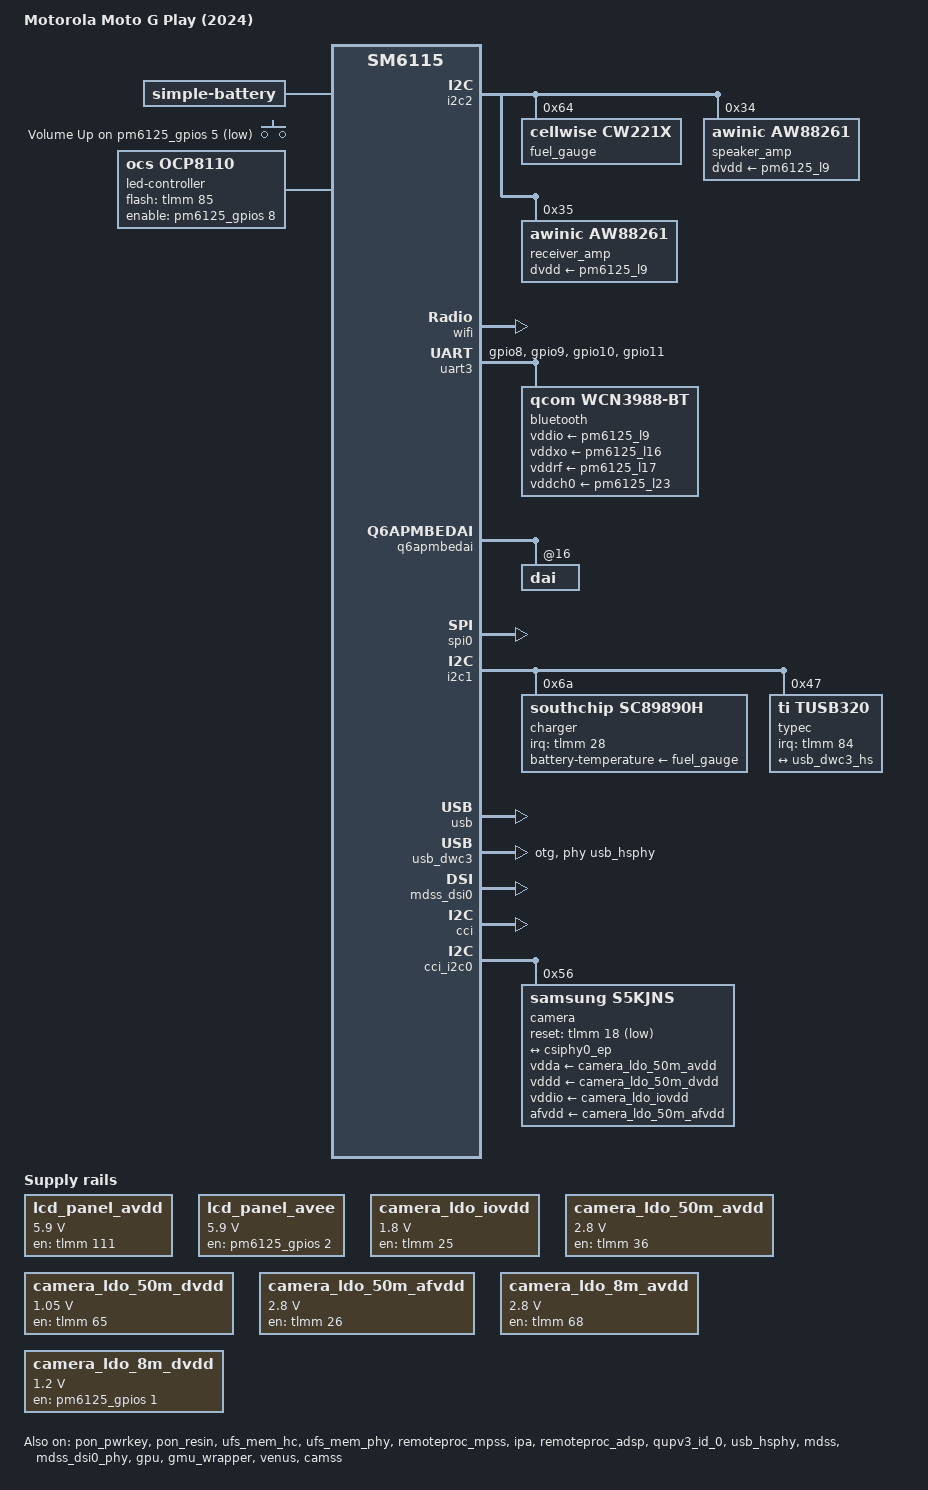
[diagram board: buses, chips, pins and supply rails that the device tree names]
// SPDX-License-Identifier: (GPL-2.0+ OR BSD-3-Clause)
/*
 * Motorola Moto G Play (2024) -- "fogona", XT2413, SM6225 (khaje).
 *
 * Everything common to the board. fogona is dual-sourced for the display, and
 * the panel is a TDDI part that drives touch as well, so BOTH the panel and the
 * touch controller are per-variant and live in the including .dts:
 *
 *   sm6225-motorola-fogona-icnl9916c.dts   Tianma ICNL9916C   (this unit)
 *   sm6225-motorola-fogona-nt36528.dts     CSOT NT36528       (not written)
 *   sm6225-motorola-fogona-ili9883c.dts    TXD ILI9883C       (not written)
 *
 * Stock does the same thing at runtime instead, declaring all three touch nodes
 * on one SPI bus and matching mmi,panel_name; separate DTBs is the mainline way.
 *
 * Copyright (c) 2026 William Floyd
 */

#include <dt-bindings/gpio/gpio.h>
#include <dt-bindings/input/input.h>
#include <dt-bindings/interrupt-controller/irq.h>
#include <dt-bindings/leds/common.h>
#include "sm6225.dtsi"
#include "pm6125.dtsi"

/ {
	model = "Motorola Moto G Play (2024)";
	compatible = "motorola,fogona", "qcom,sm6225", "qcom,sm6115";
	chassis-type = "handset";

	/*
	 * Measured, not inherited: /sys/devices/soc0/soc_id = 518, revision 1.0.
	 * fogona ships two base DTBs differing only in this property (0x24a and
	 * 0x206); this unit is 0x206 = 518. board-id is the pair carried by the
	 * dtbo overlay ABL actually selects at runtime.
	 */
	qcom,msm-id = <518 0x10000>;
	qcom,board-id = <0x41 0xa000>;

	/*
	 * uart3 is the only GENI UART enabled as a plain (non-console) serdev
	 * bus on this board -- the Bluetooth link. With no /aliases node at
	 * all, qcom_geni_serial_probe()'s of_alias_get_highest_id("serial")
	 * returns -ENODEV and the ida_alloc_range() that follows it fails,
	 * so the port never registers ("Invalid line -19"). qrb4210-rb2.dts
	 * hits the same requirement and assigns serial1 to its uart3.
	 */
	aliases {
		serial1 = &uart3;
	};

	chosen {
		/*
		 * The two remaining *_ignore_unused are inherited from the
		 * simple-framebuffer era: ABL handed over with the panel lit
		 * and its clocks/rails running, simplefb claimed none of them,
		 * and the late-boot "disable everything unclaimed" passes then
		 * turned the display off -- Tux drawn, then black.
		 *
		 * regulator_ignore_unused was dropped 2026-09-10 and is NOT
		 * coming back. That premise no longer holds for rails, because
		 * the panel driver claims its own: icnl9916_panel_prepare()
		 * calls regulator_bulk_enable() on vddio/avdd/avee and
		 * _unprepare() releases them. Measured on hardware without the
		 * flag -- lcd_panel_avdd and lcd_panel_avee sit at use=0 while
		 * blanked, regulator_init_complete disables them, and the next
		 * prepare() turns them straight back on. Observed 0 -> 1 within
		 * one boot, backlight back to 1637. The other rails the pass
		 * touches are the ath10k ones, which have no driver holding
		 * them because WiFi does not work yet, and dummy regulators.
		 *
		 * L9A (LCD_1.8V) is a separate matter and was never what the
		 * flag protected: the PM6225 datasheet says it must never be
		 * turned off (it also carries VDD_PX31..36 and LPDDR4x_VDD1),
		 * and it is already regulator-always-on in this DTS, which is
		 * what actually keeps it up.
		 *
		 * pd_ignore_unused was dropped 2026-09-11, also tested. Only
		 * three domains were at risk -- hlos1_vote_mm_snoc_mmu_tbu_rt,
		 * _nrt and hlos1_vote_turing_mmu_tbu0 -- all on with no DT node
		 * referencing them, so unlike the display clocks they could not
		 * gain a consumer by waking the screen. All four TBU GDSCs are
		 * VOTABLE, meaning the HLOS vote is one of several and dropping
		 * it does not force the block off; hlos1_vote_turing_mmu_tbu1
		 * was already off before the change with nothing broken, which
		 * is the precedent. Measured without the flag: genpd reports
		 * "Disabling unused power domains", all four TBUs read off-0,
		 * mdss_gdsc/gcc_usb30_prim/gcc_ufs_phy stay on because they
		 * have real consumers, and display, GPU, Type-C, UFS and SSH
		 * are all unaffected with zero SMMU faults.
		 *
		 * clk_ignore_unused is UNTESTED and should stay for now. It is
		 * a much worse bet than the other two were: 55 clocks are
		 * hardware-enabled with no consumer, spanning USB3 PHY, SDCC,
		 * QUP, CPU and -- the real problem -- snoc/ipa/ce1 interconnect
		 * and RPM votes that no mainline driver on this port claims.
		 * Gating interconnect hangs the bus with no diagnostic, which
		 * is the same failure class as the adreno SMMU bug. It becomes
		 * droppable when those subsystems have drivers, not before.
		 *
		 * androidboot.slot_suffix is not for Android's benefit: it is
		 * how msm-firmware-loader finds the slotted partitions. Its
		 * ab_get_slot() reads this from /proc/cmdline, and booting
		 * through U-Boot means nothing else sets it -- so without it
		 * the loader looks for partitions literally named "modem" and
		 * "vendor", finds only the unslotted "persist", and silently
		 * provides no firmware at all. Hardcoded because slot A is
		 * active; installing qbootctl would track the real slot.
		 */
		bootargs = "console=tty0 loglevel=7 panic=0 fbcon=map:0,font:6x10 clk_ignore_unused pmos.nosplash plymouth.enable=0 ignore_loglevel rdinit=/init.pmos androidboot.slot_suffix=_a";
	};

	/*
	 * simple-framebuffer at the DT ROOT, not under /chosen.
	 * of_platform_default_populate() walks the root; a /chosen child relies
	 * on one special-cased lookup, and on this port that lookup did not
	 * fire -- the driver never probed and 40 lines of pr_emerg produced
	 * nothing on the panel. Moved to the root, fbcon came up immediately
	 * and drew the Tux logo.
	 *
	 * ABL leaves its splash lit at the base of cont_splash_mem, confirmed
	 * from the live tree as splash_region@5c000000 / 0xf00000. The panel is
	 * 720x1600; the region must stay no-map or simplefb's devm_ioremap_wc()
	 * refuses it (arm64 ioremap rejects mapped memory).
	 */
	framebuffer0: framebuffer@5c000000 {
		compatible = "simple-framebuffer";
		reg = <0x0 0x5c000000 0x0 (720 * 1600 * 4)>;
		width = <720>;
		height = <1600>;
		stride = <(720 * 4)>;
		format = "a8r8g8b8";
	};

	/*
	 * Persistent kernel log across reboots. CONFIG_PSTORE_RAM is already
	 * enabled, but without a region the driver is inert -- which is why an
	 * unexplained reboot leaves nothing behind. That matters more than
	 * usual here: every boot is a manual `fastboot boot`, so a crash that
	 * explains itself is worth a lot.
	 *
	 * Address and sizes are Motorola's own for this SoC, from
	 * kernel-msm/include/dt-bindings/moto/moto-mem-reserve.h
	 * (RAMOOPS_BASE_ADDR 0xaf000000, console 0x40000, record 0x3f800,
	 * total 0xbf800), used by khaje-moto-common-overlay.dtsi. So the
	 * bootloader already treats it as scratch and nothing else claims it;
	 * our own highest reserved region is rmtfs at 0x89b01000, far below.
	 *
	 * No `no-map`: ramoops needs the region mapped to read it back, and
	 * every in-tree arm64 qcom example omits it. pmsg-size is omitted too
	 * because CONFIG_PSTORE_PMSG is off -- the space then goes to extra
	 * dump records instead.
	 *
	 * After a crash the previous boot's log is at /sys/fs/pstore/.
	 */
	reserved-memory {
		ramoops@af000000 {
			compatible = "ramoops";
			reg = <0x0 0xaf000000 0x0 0xbf800>;
			console-size = <0x40000>;
			record-size = <0x3f800>;
		};
	};

	/*
	 * The gauge reports state of charge as a percentage and knows nothing
	 * about pack size, so the design capacity has to come from here.
	 * 5000 mAh matches stock's fcc_design of 0x1388 for all three packs.
	 *
	 * operating-range-celsius is the charge window, and nothing in mainline
	 * reads it on this board yet -- bq25890_charger does not call
	 * power_supply_get_battery_info(). It is recorded because it is the only
	 * upstream way to state the pack's temperature limits at all: there is
	 * no binding for JEITA zones, so stock's mmi,mmi-temp-zones table, which
	 * derates to 4250 mV below 15C and 4200 mV above 45C, has no mainline
	 * expression. See the charger node for why that pushed the regulation
	 * voltage down to 4400 mV.
	 */
	battery: battery {
		compatible = "simple-battery";
		charge-full-design-microamp-hours = <5000000>;
		voltage-min-design-microvolt = <3400000>;
		voltage-max-design-microvolt = <4400000>;
		operating-range-celsius = <0 45>;
	};

	gpio-keys {
		compatible = "gpio-keys";

		/*
		 * Volume-up is on the PMIC, not TLMM. The schematic routes
		 * KYPD_VOLP_N to PM6225 GPIO_05 (pad 21), and the stock dtbo
		 * agrees: its vol_up node reads `gpios = <0xffffffff 0x05 0x01>`
		 * with the fixups block resolving that dangling phandle to
		 * `pm6125_gpios`. Reading the overlay without applying the
		 * fixups yields "gpio 5" with no controller, and TLMM 5 is the
		 * natural wrong guess -- which is exactly the guess this file
		 * used to make.
		 *
		 * All three side keys are on the PMIC: power -> KPD_PWR_N and
		 * volume-down -> RESIN_N (both via pon, enabled below), and
		 * volume-up here. There is no TLMM key on this board.
		 */
		key-volume-up {
			label = "Volume Up";
			gpios = <&pm6125_gpios 5 GPIO_ACTIVE_LOW>;
			linux,code = <KEY_VOLUMEUP>;
			debounce-interval = <15>;
		};
	};

	/*
	 * Speaker playback. Both amplifiers sit on the one primary MI2S port,
	 * so they are two codecs on a single dai-link rather than two links.
	 *
	 * The card deliberately programs no LPASS clocks of its own: under
	 * AudioReach the interface clocking belongs to the DSP graph, and
	 * q6apm-lpass-dais only takes an explicit bit clock when the port node
	 * carries "mclk"/"bclk" clock references, which it does not here. This
	 * mirrors monaco-evk, the other GPR board with a plain I2S codec on
	 * MI2S. If playback ever runs with no audible output and no error, the
	 * machine driver's mi2s_bclk_enable path is the first thing to try.
	 */
	sound {
		compatible = "motorola,fogona-sndcard";
		model = "Moto-G-Play-2024";

		pinctrl-0 = <&lpi_i2s1_active>;
		pinctrl-names = "default";

		pri-mi2s-dai-link {
			link-name = "Primary MI2S Playback";

			codec {
				sound-dai = <&speaker_amp>, <&receiver_amp>;
			};

			cpu {
				sound-dai = <&q6apmbedai PRIMARY_MI2S_RX>;
			};

			platform {
				sound-dai = <&q6apm>;
			};
		};
	};
};

/*
 * khaje reserves GPIOs 14-17. Straight from Qualcomm's own driver:
 *
 *   static const int khaje_reserved_gpios[] = { 14, 15, 16, 17, -1 };
 *       -- drivers/pinctrl/qcom/pinctrl-khaje.c
 *
 * Touching them during gpio init is what crashes TLMM on this SoC.
 */
&tlmm {
	gpio-reserved-ranges = <14 4>;

	charger_int_n: charger-int-state {
		pins = "gpio28";
		function = "gpio";
		drive-strength = <2>;
		bias-pull-up;
	};

	typec_int_n: typec-int-state {
		pins = "gpio84";
		function = "gpio";
		drive-strength = <2>;
		bias-pull-up;
	};

	te_active: te-active-state {
		pins = "gpio81";
		function = "mdp_vsync";
		drive-strength = <2>;
		bias-pull-down;
	};

	mdss_dsi_active: dsi-active-state {
		pins = "gpio82";
		function = "gpio";
		drive-strength = <8>;
		bias-disable;
	};

	panel_avdd_default: panel-avdd-state {
		pins = "gpio111";
		function = "gpio";
		drive-strength = <8>;
		bias-disable;
	};

	ts_int_default: ts-int-state {
		pins = "gpio80";
		function = "gpio";
		bias-pull-up;
	};

	ts_reset_default: ts-reset-state {
		pins = "gpio86";
		function = "gpio";
		drive-strength = <8>;
		bias-disable;
	};

	/*
	 * The rear sensor's master clock. This one IS a pinctrl group, unlike
	 * every camera *enable* below: GPIO_20 is muxed to cam_mclk and driven
	 * by GCC, so nothing requests it as a GPIO and the "already requested"
	 * conflict described at lcd_panel_avdd cannot arise here.
	 */
	cam_mclk0_default: cam-mclk0-state {
		pins = "gpio20";
		function = "cam_mclk";
		drive-strength = <2>;
		bias-disable;
	};

	/*
	 * uart3 (SE3) is the Bluetooth UART, not a spare engine -- see
	 * investigations/bluetooth.md §1. gpio8-11 is CTS/RTS/TX/RX with flow
	 * control; groups copied from qrb4210-rb2.dts, the bengal-class board
	 * on the same SE3/qup3 pins.
	 */
	uart3_default: uart3-default-state {
		cts-pins {
			pins = "gpio8";
			function = "qup3";
			drive-strength = <2>;
			bias-bus-hold;
		};

		rts-pins {
			pins = "gpio9";
			function = "qup3";
			drive-strength = <2>;
			bias-disable;
		};

		tx-pins {
			pins = "gpio10";
			function = "qup3";
			drive-strength = <2>;
			bias-disable;
		};

		rx-pins {
			pins = "gpio11";
			function = "qup3";
			drive-strength = <2>;
			bias-pull-up;
		};
	};

	uart3_sleep: uart3-sleep-state {
		cts-pins {
			pins = "gpio8";
			function = "gpio";
			drive-strength = <2>;
			bias-bus-hold;
		};

		rts-pins {
			pins = "gpio9";
			function = "gpio";
			drive-strength = <2>;
			bias-pull-down;
		};

		tx-pins {
			pins = "gpio10";
			function = "gpio";
			drive-strength = <2>;
			bias-pull-up;
		};

		rx-pins {
			pins = "gpio11";
			function = "gpio";
			drive-strength = <2>;
			bias-pull-up;
		};
	};
};

&pon_pwrkey {
	status = "okay";
};

&pon_resin {
	linux,code = <KEY_VOLUMEDOWN>;
	status = "okay";
};

/*
 * RPM regulators. khaje's rails are pm6125 LDOs behind RPM/SMD (the SoC has an
 * Arm Cortex-M3 RPM, not RPMh), so they are declared per-board here rather
 * than in pm6125.dtsi -- which describes only the SPMI side.
 *
 * Only the rails this port actually uses are declared. Voltage windows are the
 * sibling sm6225-lenovo-tb128.dts values, which match the PM6225 datasheet
 * ranges; L18 carries the note "fixed @ 1.232V for DSIPHY" there and is also
 * fogona's UFS vdda-pll.
 */
&rpm_requests {
	regulators-0 {
		compatible = "qcom,rpm-pm6125-regulators";

		/*
		 * The 0.9 V analog rail: UFS's vdda-phy, the DSI PHY's
		 * vdda-0p9 and VDD_A_CSI_0/1/2_0P9. The minimum here is the
		 * operating point, not the LDO's floor, because nothing on
		 * this board asks the regulator for a voltage -- so whatever
		 * the minimum says is what the rail sits at. With the LDO's
		 * 720 mV floor it sat at 720 mV, 20% under every consumer's
		 * nominal, which is measurable in /sys/class/regulator.
		 */
		pm6125_l4: l4 {
			regulator-min-microvolt = <900000>;
			regulator-max-microvolt = <1050000>;
		};

		/*
		 * The panel's vddio. Marked always-on deliberately: LCD_1.8V
		 * is VREG_L9A, which the PM6225 datasheet says must never be
		 * turned off -- it also carries VDD_PX31..36 and LPDDR4x_VDD1.
		 * Now that a driver holds a handle on it, always-on is what
		 * stops a panel unprepare from taking the board down with it.
		 */
		pm6125_l9: l9 {
			regulator-min-microvolt = <1504000>;
			regulator-max-microvolt = <2000000>;
			regulator-always-on;
		};

		pm6125_l11: l11 {
			regulator-min-microvolt = <1700000>;
			regulator-max-microvolt = <1950000>;
		};

		pm6125_l12: l12 {
			regulator-min-microvolt = <1620000>;
			regulator-max-microvolt = <1980000>;
		};

		pm6125_l15: l15 {
			regulator-min-microvolt = <2700000>;
			regulator-max-microvolt = <3544000>;
		};

		/*
		 * The 1.2 V PLL rail: UFS's vdda-pll, the DSI's vdda-1p2 and
		 * VDD_A_CSI_0/1/2_1P2. Same reasoning as L4 above -- it was
		 * sitting at its 1.1 V floor rather than the 1.2 V every
		 * consumer wants. The sibling tb128 pins this at 1.232 V for
		 * the DSI PHY, which this window still allows.
		 */
		pm6125_l18: l18 {
			regulator-min-microvolt = <1200000>;
			regulator-max-microvolt = <1300000>;
		};

		pm6125_l24: l24 {
			regulator-min-microvolt = <2700000>;
			regulator-max-microvolt = <3544000>;
		};

		/*
		 * WCN3988 rails. The PM6225 datasheet gives L8 as VDD_WCSS_CX,
		 * L16 as WCN 1.8 V, L17 as WCN 1.3 V and L23 as WCN 3.3 V, and
		 * the windows below are the ones the bengal boards use for the
		 * same four rails feeding the same connectivity part.
		 */
		pm6125_l8: l8 {
			regulator-min-microvolt = <400000>;
			regulator-max-microvolt = <728000>;
		};

		pm6125_l16: l16 {
			regulator-min-microvolt = <1704000>;
			regulator-max-microvolt = <1904000>;
		};

		pm6125_l17: l17 {
			regulator-min-microvolt = <1152000>;
			regulator-max-microvolt = <1384000>;
		};

		pm6125_l23: l23 {
			regulator-min-microvolt = <3200000>;
			regulator-max-microvolt = <3400000>;
		};
	};
};

/*
 * UFS rails, resolved from the phandles in fogona's own live device tree
 * (/sys/firmware/fdt on the running stock kernel) and cross-checked against
 * the PM6225 datasheet's rail table:
 *
 *   vcc      -> pm6125_l24   (EMMC1_VCC / UFS_MEM, 2.96 V)
 *   vccq2    -> pm6125_l11   (eMMC1_VCCQ, 1.8 V)
 *   vdda-phy -> pm6125_l4    (EBI_PLL / UFS)
 *   vdda-pll -> pm6125_l18
 *
 * vdd-hba is deliberately absent: stock declares it as
 * `vdd-hba-supply = <&gcc_ufs_phy_gdsc>` with `vdd-hba-fixed-regulator`, i.e.
 * the GDSC power domain rather than an LDO -- which sm6225.dtsi already
 * expresses as power-domains = <&gcc GCC_UFS_PHY_GDSC>. The sibling
 * sm6225-lenovo-tb128.dts points vdd-hba at pm6125_l18 with the comment
 * "??? sus"; per the datasheet L18 is MIPI_CSI_1P2, so that assignment looks
 * wrong and is not copied here.
 */
&ufs_mem_hc {
	vcc-supply = <&pm6125_l24>;
	vcc-max-microamp = <600000>;
	vccq2-supply = <&pm6125_l11>;
	vccq2-max-microamp = <600000>;
	status = "okay";
};

&ufs_mem_phy {
	vdda-phy-supply = <&pm6125_l4>;
	vdda-pll-supply = <&pm6125_l18>;
	status = "okay";
};

/*
 * sm6225.dtsi declares both of these as fixed-clock with NO frequency, leaving
 * each board to supply it -- and everything derived from the XO is 0 Hz until
 * it does. That surfaced as ufs-qcom reporting "invalid ref_clk setting = 0",
 * because its ref_clk is <&rpmcc RPM_SMD_XO_CLK_SRC>.
 *
 * 19200000 is what the SoC's CXO input sees, NOT the 38.4 MHz crystal: the
 * SM6225 datasheet's section 3.11.1.1 is titled "19.2 MHz CXO input", and the
 * live downstream tree agrees (0x124f800). Do not "correct" this to 38.4 MHz.
 *
 * 32764 is the PMIC's generated sleep clock: the PM6225 datasheet describes
 * "using the 38.4 MHz XO circuit and dividing its output by 1172", and
 * 38400000/1172 = 32764.5. Both upstream bengal boards use exactly 32764.
 */
&xo_board {
	clock-frequency = <19200000>;
};

&sleep_clk {
	clock-frequency = <32764>;
};

/*
 * Fuel gauge: CellWise CW2217 on SE2 I2C, the bus Motorola calls SAR_I2C.
 *
 * Stock declares three gauges on this bus -- cw2217@64, sm5602@71 and
 * rt9426a@55 -- and picks one at runtime, because the part is second sourced.
 * This unit has the CW2217: its stock kernel loads cw2217b_fg_mmi and logs
 * from FG_CW2217, and the schematic's 5 mohm sense resistor (R1809) matches a
 * coulomb counter rather than the voltage-only alternatives.
 *
 * cw,user_rsense is in milliohms scaled by 1000, not plain milliohms -- the
 * driver's own default is 1500 for a 1.5 mohm shunt. This board's R1809 is
 * 5 mohm, so 5000. Getting the scale wrong does not fail visibly: the gauge
 * still reports a plausible-looking current, just off by a factor of 1000.
 *
 * The battery profile is the 80-byte table stock ships for the SUNWODA 5000 mAh
 * pack, transcribed from its config_profile_info. Stock carries three, keyed by
 * pack serial; this handset reports SB18D96854, which selects that one. A pack
 * from another vendor would need the SCUD table instead -- the gauge would still
 * work, but its capacity curve would be wrong rather than obviously broken.
 *
 * No thermistor is wired to the gauge: stock sets factory_mode_ntc_exist = 0
 * and the running driver agrees, so temperature comes from elsewhere.
 */
&i2c2 {
	status = "okay";

	fuel_gauge: fuel-gauge@64 {
		compatible = "cellwise,cw221X";
		reg = <0x64>;

		monitored-battery = <&battery>;

		cw,user_rsense = <5000>;

		cellwise,battery-profile = [
			5a 00 00 00 00 00 00 00 a8 ba
			ad bf a5 a0 de c9 bb ff e6 bc
			8b 75 61 55 4f 4e 4d c1 a3 e2
			dd ff fa cb d2 d8 d9 d8 d4 cf
			ca c7 ce ca a4 93 8b 81 73 6e
			7e 97 ac 8f 7e 64 20 00 ab 10
			02 a0 5f 00 00 00 64 23 c3 55
			00 00 00 00 00 00 00 00 00 c6
		];
	};

	/*
	 * The two speaker amplifiers. Both are AW88261s on the primary MI2S
	 * port, distinguished only by I2C address and channel: 0x34 is the
	 * loudspeaker, 0x35 the earpiece.
	 *
	 * awinic,audio-channel is not cosmetic and not a slot number -- it
	 * selects which tuning the shared ACF container applies, because
	 * aw88395_lib.c matches it against each section's dev_index. The
	 * container on this handset carries dev_index 0 and 1, so these values
	 * follow Motorola's own assignment rather than being chosen.
	 *
	 * firmware-name points at the vendor ACF, which msm-firmware-loader
	 * already exposes from the vendor partition -- the driver hard-fails
	 * probe without one, as there is no register-defaults fallback.
	 *
	 * No reset-gpios: the binding forbids them on aw88261, which has no
	 * reset pin. No interrupts either -- downstream wires TLMM 102 and 107
	 * to these parts, but mainline's driver has no interrupt support and
	 * the binding does not allow the property.
	 *
	 * sound-name-prefix is load-bearing, not decoration. Two instances of
	 * one codec driver on a single card register identically named controls
	 * and widgets, and the second one loses: "control PCM Playback Volume
	 * is already present", -EBUSY out of snd_soc_component_probe(), and the
	 * whole card fails to instantiate. The prefixes make them
	 * "Speaker ..." and "Receiver ...", which is also how userspace tells
	 * the two apart.
	 */
	speaker_amp: audio-codec@34 {
		compatible = "awinic,aw88261";
		reg = <0x34>;

		#sound-dai-cells = <0>;
		awinic,audio-channel = <1>;
		dvdd-supply = <&pm6125_l9>;
		firmware-name = "aw882xx_acf.bin";
		sound-name-prefix = "Speaker";
	};

	receiver_amp: audio-codec@35 {
		compatible = "awinic,aw88261";
		reg = <0x35>;

		#sound-dai-cells = <0>;
		awinic,audio-channel = <0>;
		dvdd-supply = <&pm6125_l9>;
		firmware-name = "aw882xx_acf.bin";
		sound-name-prefix = "Receiver";
	};
};

/*
 * WiFi: WCN3988, driven by ath10k over SNOC.
 *
 * The WLAN core does not run its own downloaded firmware the way the touch
 * controller does -- wifi@c800000 carries qcom,msa-fixed-perm, meaning the
 * modem has already been given access to the shared memory area. So the modem
 * has to be running first, which is why remoteproc_mpss is enabled below; the
 * bengal boards do exactly the same pairing.
 *
 * Everything needed is on the device rather than redistributable: modem.mdt
 * and wlanmdsp.mbn live in the modem partition, alongside this handset's own
 * board data as bdwlan_fogona_ipa.bin / _epa.bin. msm-firmware-loader mounts
 * that partition and links its image/ directory into the firmware search path.
 */
&wifi {
	vdd-0.8-cx-mx-supply = <&pm6125_l8>;
	vdd-1.8-xo-supply = <&pm6125_l16>;
	vdd-1.3-rfa-supply = <&pm6125_l17>;
	vdd-3.3-ch0-supply = <&pm6125_l23>;

	/*
	 * Names this board's entry in board-2.bin. ath10k asks for
	 * "bus=snoc,qmi-board-id=ff,qmi-chip-id=150,variant=Motorola_fogona"
	 * first, then the same name without the variant, then board-id alone --
	 * so this is not load-bearing here: the board-2.bin that fogona-wlan-bdf
	 * builds on the handset carries both that name and the bare board-id
	 * one, and resolves either way.
	 *
	 * Declared anyway because it is what every other qcom board in mainline
	 * does, the two closest relatives included -- sm6115-fxtec-pro1x
	 * ("Fxtec_QX1050") and sm6115p-lenovo-j606f ("Lenovo_P11"), neither of
	 * which has an entry in upstream board-2.bin either. The string is the
	 * key a board file would be submitted under if Motorola ever published a
	 * redistributable one; today it only picks the more specific of two
	 * names for the same blob.
	 */
	qcom,calibration-variant = "Motorola_fogona";

	status = "okay";
};

/*
 * Bluetooth: WCN3988, the BT half of the WiFi/BT combo, on uart3's serdev
 * bus. Rails are the same four the &wifi node above uses -- one combo chip,
 * shared RF supplies. See investigations/bluetooth.md.
 *
 * The second interrupt is the out-of-band wakeup on the RX pin, which lets
 * the controller wake the AP with the UART clocked down; omitting it is easy
 * and the symptom would be a link that works until it idles. max-speed
 * matches both the RB2 reference and a khaje sibling (Lenovo tb128fu).
 */
&uart3 {
	interrupts-extended = <&intc GIC_SPI 330 IRQ_TYPE_LEVEL_HIGH>,
			      <&tlmm 11 IRQ_TYPE_EDGE_FALLING>;
	pinctrl-0 = <&uart3_default>;
	pinctrl-1 = <&uart3_sleep>;
	pinctrl-names = "default", "sleep";
	status = "okay";

	bluetooth {
		compatible = "qcom,wcn3988-bt";
		vddio-supply = <&pm6125_l9>;
		vddxo-supply = <&pm6125_l16>;
		vddrf-supply = <&pm6125_l17>;
		vddch0-supply = <&pm6125_l23>;
		max-speed = <3200000>;
	};
};

/*
 * No firmware-name here on purpose. The driver default for this compatible is
 * the bare "modem.mdt", which is what msm-firmware-loader links flat into the
 * firmware search path and what resolves on this handset. The nested
 * qcom/sm6225/motorola/fogona/ subtree that something else creates under that
 * root points at /mnt/modem, which is an empty directory, so every file under
 * it dangles -- naming it here is how the modem failed to load for months.
 */
&remoteproc_mpss {
	status = "okay";
};

/*
 * The modem's data path, and the reason ModemManager can build a modem object
 * at all: without it MM finishes its QMI probe and then gives up with "Failed
 * to find a net port in the QMI modem", so there is no data, no calls, and not
 * even a SIM read.
 *
 * The AP loads the GSI firmware here rather than the modem: TZ has the PAS id
 * (0xf, what downstream's pas-ids says) and msm-firmware-loader surfaces the
 * whole ipa_fws set out of the modem partition, so there is nothing to defer to
 * the modem for. pil_ipa_fw_mem is 64 KiB and the image totals ~19 KiB across
 * its five segments, so it fits with room to spare.
 *
 * No firmware-name here, for the same reason as &remoteproc_mpss above: the
 * driver default is the bare "ipa_fws.mdt", which is exactly the flat link the
 * loader creates in the firmware search root. Note the ipa_fws.mbn beside it is
 * a symlink to that same .mdt rather than a single-file image, so the split
 * .mdt + .b00..b04 path is the only one that exists on this handset.
 */
&ipa {
	memory-region = <&pil_ipa_fw_mem>;

	qcom,gsi-loader = "self";

	status = "okay";
};

/*
 * The audio DSP. Nothing in the audio subsystem exists without it: the codec
 * macros, the MI2S ports and the sound card all hang off services this
 * remoteproc publishes, and so -- less obviously -- does lpass_tlmm. The LPI
 * pin controller's only clock is an LPASS vote owned by a DSP service, so with
 * the ADSP down it is a node in the DT with no driver bound to it, and no pin
 * on the LPI block can be muxed.
 *
 * adsp.mdt and its adsp.b* segments come from the modem partition by way of
 * msm-firmware-loader, the same route modem.mdt above takes; nothing is
 * redistributed with the port. No firmware-name here, for exactly the reason
 * given at &remoteproc_mpss: adsp_resource_init already defaults to the bare
 * "adsp.mdt", which is the flat link that resolves, and the nested
 * qcom/sm6225/motorola/fogona/adsp.mdt dangles the same way modem.mdt did.
 *
 * The service layer under this node is GPR rather than APR -- see the sm6225
 * dtsi change that converted it. The distinction matters here because an ADSP
 * described the wrong way still boots and still reports "running", so this
 * node coming up is not on its own evidence that audio will work.
 */
&remoteproc_adsp {
	status = "okay";
};

/*
 * The primary MI2S bit clock, named so q6apm-lpass-dais can find it.
 *
 * This is not an ordinary clock: q6prmcc's provider is the DSP itself, so
 * clk_set_rate() here becomes a PRM command telling the ADSP how to clock the
 * LPAIF. Without it of_q6apm_parse_dai_data() leaves the port's bclk NULL,
 * q6i2s_set_sysclk() silently does nothing, and the DSP is asked to accept a
 * media format for an interface it has never been told the clock for.
 */
&q6apmbedai {
	#address-cells = <1>;
	#size-cells = <0>;

	dai@16 {
		reg = <PRIMARY_MI2S_RX>;
		clocks = <&q6prmcc LPASS_CLK_ID_PRI_MI2S_IBIT
			  LPASS_CLK_ATTRIBUTE_COUPLE_NO>;
		clock-names = "bclk";
	};
};

/*
 * Touchscreen: ChipOne ICNL9916C, a TDDI part that drives the panel and the
 * digitizer from one package. The touch half is on SPI SE0, which is how stock
 * has it -- its overlay's fixups resolve fragment@60's target to
 * `qupv3_se0_spi`, and the node carries spi-max-frequency = 9.6 MHz with the
 * interrupt on TLMM 80 and reset on TLMM 86.
 *
 * reg = <0>, NOT <1>, even though stock names the node chipone_tddi@1. Stock
 * declares three touch nodes on this one bus -- novatek@0, chipone_tddi@1 and
 * ilitek@2 -- for the three panel variants fogona shipped, selected at runtime
 * by matching mmi,panel_name. They cannot be three chip selects: qup_spi0's
 * pinctrl muxes a single CS (gpio3). Motorola's own driver settles it by
 * overriding whatever DT said:
 *
 *     pdata->spi_client->chip_select = 0;
 *         -- cts_platform.c, cts_plat_spi_setup()
 *
 * So the @N suffixes are variant slots, and the real chip select is 0.
 *
 * 6 MHz rather than the 9.6 MHz stock allows: that is what the vendor driver
 * actually clocks (CFG_CTS_SPI_SPEED_KHZ 6000), so it is the rate the part is
 * known to work at. Raise it once the controller is talking.
 *
 * Falling-edge interrupt matches the vendor's IRQF_TRIGGER_FALLING. The reset
 * line is active low: the driver pulses the logical line high then low, which
 * for a RESET_N pin has to invert.
 */
/*
 * The QUP wrapper gates every serial engine under it, so enabling spi0 alone
 * does nothing: geniqup@4ac0000 ships disabled, and a disabled parent means
 * of_platform never populates its children. Symptom is not a probe failure but
 * total absence -- no 4a80000.spi platform device, nothing in
 * /sys/bus/spi/devices, and not one geni line in dmesg.
 *
 * Note i2c0 and spi0 share address 0x4a80000: SE0 is one engine that is either
 * an I2C or a SPI port, never both. i2c0 must stay disabled.
 */
&qupv3_id_0 {
	status = "okay";
};

/*
 * gpi_dma0 is deliberately left disabled. spi0 lists it in `dmas`, but
 * spi-geni-qcom falls back to PIO when the channels cannot be obtained, and
 * PIO is more than enough for a touch controller whose largest transfer is a
 * 77-byte report.
 */
/*
 * The bus only. The touch controller itself is a TDDI half of the panel, so it
 * differs per panel variant and lives in the per-panel .dts alongside it --
 * stock declares novatek@0, chipone_tddi@1 and ilitek@2 on this one bus for
 * exactly that reason, picking one at runtime by mmi,panel_name.
 */
&spi0 {
	status = "okay";
};

/*
 * USB, high-speed only. fogona routes no superspeed at all (Motorola's
 * schematics break USB_CC1/CC2 out to testpoints but carry no SBU, and
 * USB0_SS_* / USB0_DP_AUX_* have no cross-sheet routing), so dwc3 is pinned to
 * the HS phy and `qcom,select-utmi-as-pipe-clk` stands in for the absent SS
 * phy's pipe clock.
 *
 * Unlike U-Boot -- which has no SMD/RPM regulator driver and therefore cannot
 * bring these rails up at all -- Linux can, which is why USB is worth enabling
 * here: it gives a console channel that does not depend on the panel.
 *
 * Rails per the PM6225 datasheet, cross-checked against the board's analog
 * rail traces (FOGONA-BOARD.md 1): vdda-pll -> L4 (VDD_A_USBHS_0P9),
 * vdda18 -> L12 (VDD_TXDAC/USB 1.8 V), vdda33 -> L15 (VDD_A_USBHS_3P1,
 * proven -- only L15A instance on the sheet).
 *
 * These property names are correct for THIS node and must not be "corrected"
 * to j606f's. sm6225.dtsi declares usb_hsphy as "qcom,usb-snps-hs-7nm-phy"
 * (phy-qcom-snps-femto-v2.c, which asks for vdda-pll/vdda33/vdda18), whereas
 * mainline sm6115.dtsi declares it as "qcom,sm6115-qusb2-phy"
 * (phy-qcom-qusb2.c, which asks for vdd/vdda-pll/vdda-phy-dpdm). Different
 * driver, different names, same three board rails.
 */
/*
 * Type-C CC logic: SGM7220 at 0x47 on QUP SE1, interrupt on GPIO 84. Wiring is
 * Motorola's, from kernel-devicetree/qcom/sgm7220.dtsi via
 * khaje-fogona-common-overlay.dtsi.
 *
 * "ti,tusb320" is not an approximation. The SGM7220 is a register-level
 * TUSB320 clone: same default address, and it returns the literal signature
 * "TUSB320" from registers 7..0, which is what tusb320_check_signature()
 * compares against. Confirmed independently by Quectel's own SGM7220 driver,
 * which checks the identical byte array -- and now on hardware, where the port
 * reports a live power_operation_mode read back over i2c.
 *
 * This exists to give dwc3 connect/disconnect events. Without a role-switch
 * provider dwc3 pulls up once at boot and can never recover a lost session --
 * observed as usb0 going DOWN with the UDC reading "not attached", and
 * unrecoverable by replugging because the VBUS event had no consumer.
 *
 * UFP-only on purpose: this handset is never a host, and vendor configures
 * Try.SNK. The role switch is here to report DEVICE and NONE.
 */
&i2c1 {
	status = "okay";

	/*
	 * Main charger. The schematic second-sources this position between an
	 * SGM41542 at 0x3B and a Southchip SC89890H at 0x6A, and the stock dtbo
	 * declares both, so the DT alone cannot say which is fitted. A bus scan
	 * settles it: 0x3B is silent, 0x6A answers, and its REG14 part-number
	 * field reads 4, which is the SC89890H's ID. Hence the Southchip
	 * compatible and not a TI one -- the part shares the bq25890 register
	 * map but not its current and boost step sizes.
	 *
	 * Without this node nothing drives the charger and it is left exactly
	 * as the bootloader hands it over, which on this unit means REG03
	 * CHG_CFG clear: VBUS present, PG good, and no charge current at all.
	 * The phone discharges on a charger. This node is what turns that
	 * around; it is not a tuning refinement.
	 *
	 * Values follow stock's bq25890@6A with one deliberate exception. Stock
	 * regulates to 4500 mV, but it pairs that with an mmi JEITA layer that
	 * drops to 4250 mV below 15 degrees and 4200 mV above 45. Mainline has
	 * no JEITA for this chip, so 4500 mV would be held at every
	 * temperature, including cold, where it risks plating the cell. 4400 mV
	 * is our battery node's voltage-max-design and is the value to use
	 * until something implements the temperature zones.
	 *
	 * No ti,use-ilim-pin: EN_ILIM is clear as the hardware is handed over,
	 * and whether this board even fits the ILIM resistor is unestablished,
	 * so enabling the pin could clamp the input somewhere arbitrary. The
	 * input limit comes from the chip's own BC1.2/auto-DPDM detection
	 * either way -- the Type-C Rp advertisement is not wired to it, and on
	 * this chip it never will be (see investigations/charging.md).
	 *
	 * The boost properties are required by the binding but unused here:
	 * the port is UFP-only and this handset is never a host.
	 */
	charger@6a {
		compatible = "southchip,sc89890h";
		reg = <0x6a>;

		interrupts-extended = <&tlmm 28 IRQ_TYPE_EDGE_FALLING>;
		pinctrl-names = "default";
		pinctrl-0 = <&charger_int_n>;

		/*
		 * The Type-C port is where the real input limit comes from.
		 * The charger's own BC1.2 detection only sees D+/D-, so a
		 * laptop port advertising 3.0 A through Rp while presenting a
		 * plain SDP signature is charged at 500 mA -- measured here,
		 * with only ~65 mA of that reaching the battery because the
		 * SoC takes the rest. The SGM7220 reads the CC pins and
		 * publishes what was actually promised.
		 */
		power-supplies = <&typec>;

		/*
		 * The pack thermistor is on the gauge, not here: the schematic
		 * puts BATT_THERM on the CW2217's TS pin, and this charger's TS
		 * input sits at the top of its range as a result -- TSPCT reads
		 * 0x7F with the ADC both stopped and running, which the driver
		 * renders as -21 C while the gauge reports a correct 33 C.
		 *
		 * This only fixes what is *reported*. The chip's own JEITA
		 * derating, and the driver's cool-band derating, both key off
		 * NTC_FAULT, which comes from that same unconnected pin -- so
		 * there is still no temperature protection in the charging
		 * path. See investigations/charging.md.
		 */
		battery-temperature-supply = <&fuel_gauge>;

		ti,battery-regulation-voltage = <4400000>;
		ti,charge-current = <3000000>;
		ti,termination-current = <243000>;
		ti,precharge-current = <300000>;
		ti,minimum-sys-voltage = <3500000>;
		ti,boost-voltage = <5000000>;
		ti,boost-max-current = <1200000>;
	};

	typec: typec@47 {
		compatible = "ti,tusb320";
		reg = <0x47>;

		interrupts-extended = <&tlmm 84 IRQ_TYPE_EDGE_FALLING>;
		pinctrl-names = "default";
		pinctrl-0 = <&typec_int_n>;

		connector {
			compatible = "usb-c-connector";
			label = "USB-C";
			power-role = "sink";
			data-role = "device";
			typec-power-opmode = "default";

			port {
				typec_hs: endpoint {
					remote-endpoint = <&usb_dwc3_hs>;
				};
			};
		};
	};
};

&usb_dwc3_hs {
	remote-endpoint = <&typec_hs>;
};

&usb {
	qcom,select-utmi-as-pipe-clk;
	status = "okay";
};

&usb_dwc3 {
	/*
	 * usb-role-switch is KEPT, reversing what this comment used to say.
	 *
	 * It was deleted here for good reason: sm6225.dtsi sets it, dwc3 then
	 * waits for a provider to say host-or-peripheral, and fogona had none --
	 * so the role never arrived and /sys/class/udc stayed empty even with a
	 * working phy. j606f does the same, for the same reason.
	 *
	 * The SGM7220 above is that provider now. Keeping the deletion also meant
	 * dwc3 had no connect/disconnect events at all, so a session lost to a
	 * host suspend or bus reset could never be recovered -- usb0 went DOWN
	 * with the UDC "not attached" and nothing, replugging included, brought
	 * it back. On a board whose only debug channel is this port, that is
	 * worse than the problem the deletion solved.
	 *
	 * high-speed and the usb2-phy-only phys list are NOT just inherited from
	 * j606f: this board physically cannot do SuperSpeed. USB0_SS_* and
	 * USB0_DP_AUX_* appear in the SoC pinout with no routing, the test-point
	 * bank breaks out only CC1/CC2 and the HS pair, and the eLDO in the
	 * power-on sequence gates SuperSpeed DP that is not there
	 * (FOGONA-BOARD.md 3 and 4). The SoC offers USB 3.1 and khaje-usb.dtsi
	 * asks for "super-speed", but khaje is the SoC, not this handset.
	 *
	 * So do not "restore" SuperSpeed here. usb_qmpphy is already disabled in
	 * sm6225.dtsi and must stay that way; ABL still leaves its clocks
	 * running, which is why gcc_usb3_prim_phy_* show up hardware-enabled
	 * with no consumer in clk_summary. Those are safe to gate -- they feed a
	 * PHY whose outputs go nowhere.
	 */
	maximum-speed = "high-speed";
	phys = <&usb_hsphy>;
	phy-names = "usb2-phy";
	/*
	 * "otg", not "peripheral", and this is load-bearing rather than scope
	 * creep. dwc3 calls dwc3_drd_init() -- and therefore
	 * dwc3_setup_role_switch() -> usb_role_switch_register() -- ONLY under
	 * case USB_DR_MODE_OTG. With "peripheral" no role switch is registered,
	 * so the tusb320's fwnode_usb_role_switch_get() returns -EPROBE_DEFER
	 * forever and the chip never binds. Measured exactly that: 0-0047 sat on
	 * /sys/kernel/debug/devices_deferred, driver registered and device
	 * present but unbound, while USB still worked because "peripheral"
	 * forces device mode on its own.
	 *
	 * This does not make the handset a host. dwc3_setup_role_switch()
	 * defaults role_switch_default_mode to PERIPHERAL and sets
	 * DWC3_GCTL_PRTCAP_DEVICE at probe unless role-switch-default-mode says
	 * "host", so the gadget comes up at boot before any CC event.
	 */
	dr_mode = "otg";
	role-switch-default-mode = "peripheral";
};

&usb_hsphy {
	vdda-pll-supply = <&pm6125_l4>;
	vdda18-supply = <&pm6125_l12>;
	vdda33-supply = <&pm6125_l15>;
	status = "okay";
};

/*
 * The whole Adreno block is off for this bringup, and that is a deliberate
 * noise-reduction measure as much as a scope one.
 *
 * gpu / gmu_wrapper / adreno_smmu are the only consumers of &gpucc, and
 * adreno_smmu@59a0000 is the ONLY iommu in sm6225.dtsi with a clocks property.
 * Left enabled without gpucc it fails as
 *   arm-smmu 59a0000.iommu: probe failed -110
 * and emits "supplier <addr>.clock-controller not ready", which reads exactly
 * like a storage problem and is not one: ufs_mem_hc's iommu is
 * apps_smmu@c600000, which has no clocks at all. Disabling these three removes
 * that entire false trail.
 *
 * The GPU is also not reachable yet for an unrelated reason: A610 needs
 * a610_zap.mdt and a630_sqe.fw, and mainline's A610 speedbin table is
 * bengal-only with no khaje entry (see SM6225.md).
 */
/*
 * Display. The bootloader lights the panel and simple-framebuffer above shows
 * it, but that is a static buffer -- no modesetting, no backlight, no power
 * management. This wires up the real pipeline: MDSS/DPU -> DSI0 -> the panel.
 *
 * simple-framebuffer is deliberately left in place. msm_kms calls
 * aperture_remove_all_conflicting_devices() when KMS comes up, so simpledrm is
 * evicted automatically once this works, and survives as a usable console if
 * it does not.
 *
 * Panel power. The Tianma module wants three rails, named as its own bindings
 * name them rather than as the vendor's dsi_panel_pwr_supply does:
 *
 *   vddio -> VREG_L9A       (1.8 V logic, always-on -- see above)
 *   avdd  -> lcd_panel_avdd (vendor "lab",  +5.9 V, gated by TLMM 111)
 *   avee  -> lcd_panel_avee (vendor "ibb",  -5.9 V, gated by PM6125 GPIO2)
 *
 * The two 5.9 V rails are not PMIC LDOs: they come from a bias chip enabled by
 * a GPIO, so they are fixed regulators here. Both are boot-on because the
 * bootloader has already brought the panel up.
 */
/ {
	lcd_panel_avdd: regulator-lcd-avdd {
		compatible = "regulator-fixed";
		regulator-name = "lcd_panel_avdd";
		regulator-min-microvolt = <5900000>;
		regulator-max-microvolt = <5900000>;
		regulator-enable-ramp-delay = <233>;
		gpio = <&tlmm 111 GPIO_ACTIVE_HIGH>;
		enable-active-high;
		regulator-boot-on;

		/*
		 * Deliberately NO pinctrl-0. This node used to carry
		 * `pinctrl-0 = <&panel_avdd_default>`, a group that muxes the
		 * same GPIO_111 this regulator drives. On 6.14 that was
		 * tolerated; on 7.3 pinctrl refuses to claim a pin a GPIO
		 * consumer already holds, and the whole probe fails:
		 *
		 *   sm6225-tlmm 500000.pinctrl: pin GPIO_111 already requested
		 *     by regulator-lcd-avdd; cannot claim for 500000.pinctrl:623
		 *   reg-fixed-voltage regulator-lcd-avdd: error -EINVAL:
		 *     can't get GPIO
		 *
		 * That took the panel down with it -- the DSI host sat in
		 * "deferred probe pending: supplier regulator-lcd-avdd not
		 * ready" forever, so no connector, no card1-DSI-1, and the
		 * unused-regulator sweep then switched lcd_panel_avee off at
		 * ~31 s, which is the backlight going out.
		 *
		 * lcd_panel_avee below is the proof of the right shape: it has
		 * a gpio and no pinctrl-0, and it probes. Requesting a TLMM pin
		 * as a GPIO already muxes it to the gpio function, so the group
		 * only ever added drive-strength/bias -- not worth the probe.
		 */
	};

	lcd_panel_avee: regulator-lcd-avee {
		compatible = "regulator-fixed";
		regulator-name = "lcd_panel_avee";
		regulator-min-microvolt = <5900000>;
		regulator-max-microvolt = <5900000>;
		regulator-enable-ramp-delay = <233>;
		gpio = <&pm6125_gpios 2 GPIO_ACTIVE_HIGH>;
		enable-active-high;
		regulator-boot-on;
	};
};

&mdss {
	status = "okay";
};

/*
 * The DSI host only. fogona is dual-sourced, so the panel node itself lives in
 * the per-panel .dts that includes this file.
 */
&mdss_dsi0 {
	/* L18 is fixed at 1.232 V for the DSI PHY; it is also UFS's vdda-pll. */
	vdda-supply = <&pm6125_l18>;
	status = "okay";
};

&mdss_dsi0_out {
	data-lanes = <0 1 2 3>;
	remote-endpoint = <&panel_in>;
};

&mdss_dsi0_phy {
	status = "okay";
};

/*
 * The Adreno 610 is what makes this a usable phone: phoc builds its renderer on
 * it, and with the GPU off Turnip cannot find a device ("could not get GPU ID"),
 * wlroots fails both its Vulkan and GLES paths, the greeter exits without
 * creating a session, and greetd crash-loops into systemd's start limit. The
 * panel stays lit with nothing drawing on it, which reads as a display bug and
 * is not one.
 *
 * These were left disabled while the GPU was the thing under investigation, and
 * that made sense when every image was hand-built with them flipped on. It stops
 * making sense now that the device assembles its own boot image from the
 * packaged DTB (fogona-mkboot), because the default is what ships.
 *
 * Known cost, deliberately accepted: sustained load at the top OPPs still
 * produces a6xx_irq faults and hangcheck recoveries, and eventually a hard crash
 * to the bootloader -- see /repo/investigations/gpu-adreno610.md. A phone that
 * can fault under load beats a phone with no session at all.
 */
&gpu {
	status = "okay";
};

&gmu_wrapper {
	status = "okay";
};

/*
 * The venus driver's default for this compatible is
 * "qcom/venus-6.0/venus.mbn", a path nothing on this rootfs provides.
 * msm-firmware-loader assembles the vendor partition's firmware into a flat
 * directory and points the kernel's search path at it
 * (/sys/module/firmware_class/parameters/path), so the image is simply
 * "venus.mbn" -- extracted from modem_a/image, 0x700000 of loadable segments,
 * which is what pil_video_mem is now sized and placed for.
 *
 * This belongs on the board rather than in sm6225.dtsi because it describes
 * where *this* rootfs puts firmware, not where the SoC keeps it.
 *
 * Enabled: iris brings the core up on this firmware -- SYS_INIT completes and
 * the firmware answers HFI_PROP_IMAGE_VERSION. Both drivers match this node's
 * "qcom,sm6225-venus" compatible, so exactly one of them may be loaded;
 * /etc/modprobe.d/fogona-video.conf in the device package blacklists venus_core
 * and leaves qcom_iris to bind.
 */
&venus {
	firmware-name = "venus.mbn";
	status = "okay";
};

&adreno_smmu {
	status = "okay";
};

/*
 * Camera.
 *
 * fogona has two sensors, not three: a 50 MP Samsung S5KJN1 on CCI bus 0 /
 * CSIPHY 0, and an 8 MP front sensor (S5K4H7, or OV08F on the TS-Precision
 * second source) on CCI bus 1 / CSIPHY 2. The schematic's OV02D10 macro camera
 * is a position that is not populated -- the shipping dtbo, the downstream
 * camera DT and the vendor sensormodule blobs all describe exactly these two.
 * Only the rear one is wired up here, because the front sensor has no mainline
 * driver and nothing downstream to port from: on Qualcomm CAMSS the kernel
 * drives CCI/CSIPHY/CSID/TFE and the *sensor* is driven from userspace, so
 * Motorola shipped no sensor driver for either part. Its rails are declared
 * anyway, so adding the sensor later is a node and not an archaeology session.
 *
 * Every camera rail is a discrete GPIO-gated LDO -- there is no camera PMIC on
 * this board, which is why these are regulator-fixed rather than an entry in
 * the RPM block above. The _50m_/_8m_ names are Motorola's own and say which
 * sensor each belongs to.
 *
 * As with lcd_panel_avdd, NONE of these carries a pinctrl-0 naming the pin it
 * drives: requesting a TLMM pin as a GPIO already muxes it to the gpio
 * function, and a pinctrl group over the same pin makes the regulator fail to
 * probe on 7.3.
 */
/ {
	camera_ldo_iovdd: regulator-cam-iovdd {
		compatible = "regulator-fixed";
		regulator-name = "camera_ldo_iovdd";
		regulator-min-microvolt = <1800000>;
		regulator-max-microvolt = <1800000>;
		regulator-enable-ramp-delay = <233>;
		gpio = <&tlmm 25 GPIO_ACTIVE_HIGH>;
		enable-active-high;
	};

	camera_ldo_50m_avdd: regulator-cam-50m-avdd {
		compatible = "regulator-fixed";
		regulator-name = "camera_ldo_50m_avdd";
		regulator-min-microvolt = <2800000>;
		regulator-max-microvolt = <2800000>;
		regulator-enable-ramp-delay = <233>;
		gpio = <&tlmm 36 GPIO_ACTIVE_HIGH>;
		enable-active-high;
	};

	camera_ldo_50m_dvdd: regulator-cam-50m-dvdd {
		compatible = "regulator-fixed";
		regulator-name = "camera_ldo_50m_dvdd";
		regulator-min-microvolt = <1050000>;
		regulator-max-microvolt = <1050000>;
		regulator-enable-ramp-delay = <233>;
		gpio = <&tlmm 65 GPIO_ACTIVE_HIGH>;
		enable-active-high;
	};

	/* The rear module's autofocus actuator. */
	camera_ldo_50m_afvdd: regulator-cam-50m-afvdd {
		compatible = "regulator-fixed";
		regulator-name = "camera_ldo_50m_afvdd";
		regulator-min-microvolt = <2800000>;
		regulator-max-microvolt = <2800000>;
		regulator-enable-ramp-delay = <233>;
		gpio = <&tlmm 26 GPIO_ACTIVE_HIGH>;
		enable-active-high;
	};

	camera_ldo_8m_avdd: regulator-cam-8m-avdd {
		compatible = "regulator-fixed";
		regulator-name = "camera_ldo_8m_avdd";
		regulator-min-microvolt = <2800000>;
		regulator-max-microvolt = <2800000>;
		regulator-enable-ramp-delay = <233>;
		gpio = <&tlmm 68 GPIO_ACTIVE_HIGH>;
		enable-active-high;
	};

	/*
	 * The one camera rail not gated by a TLMM pin. The board doc's PMIC
	 * GPIO map calls PM6125 GPIO_01 "Front_DVDD_EN" independently of the
	 * downstream camera DT pointing it at the front sensor's digital core,
	 * which is a pleasant cross-confirmation of both.
	 */
	camera_ldo_8m_dvdd: regulator-cam-8m-dvdd {
		compatible = "regulator-fixed";
		regulator-name = "camera_ldo_8m_dvdd";
		regulator-min-microvolt = <1200000>;
		regulator-max-microvolt = <1200000>;
		regulator-enable-ramp-delay = <233>;
		gpio = <&pm6125_gpios 1 GPIO_ACTIVE_HIGH>;
		enable-active-high;
	};

	/*
	 * Camera flash and torch, which needs none of the CAMSS stack above:
	 * it is a two-pin charge pump and an existing driver.
	 *
	 * The fitted part is an OCP8135 (OCS) or an SGM3785 (SGMICRO), not an
	 * I2C device -- ENF selects flash vs movie/torch and ENM enables it.
	 * leds-sgm3140 matches ocs,ocp8110 and sgmicro,sgm3140, the same
	 * two-level charge-pump family, and its torch sequence (flash_gpio low,
	 * then enable_gpio high) is the OCP8135 truth table in order.
	 *
	 * Downstream drives ENM from pm6125_pwm channel 0 for brightness
	 * control. Mainline has no pm6125 LPG/PWM support and the driver only
	 * ever wants the pin fully on, so it is a plain GPIO here -- the same
	 * thing already proven on PM6125 gpio2 (panel AVEE) and gpio5 (volume
	 * up). The bootloader leaves gpio8 muxed as PWM ("out low func1" in
	 * /sys/kernel/debug/gpio); requesting it as a GPIO re-muxes it.
	 *
	 * Beware the net name: the trace driving ENM is called HAPTIC_PWM on
	 * the schematic and has nothing to do with the vibrator.
	 */
	led-controller {
		compatible = "ocs,ocp8110";
		flash-gpios = <&tlmm 85 GPIO_ACTIVE_HIGH>;
		enable-gpios = <&pm6125_gpios 8 GPIO_ACTIVE_HIGH>;

		led {
			function = LED_FUNCTION_FLASH;
			color = <LED_COLOR_ID_WHITE>;
			flash-max-timeout-us = <250000>;
		};
	};
};

/*
 * L4A is VDD_A_CSI_0/1/2_0P9 and L18A is VDD_A_CSI_0/1/2_1P2 -- the board doc
 * reads both straight off the schematic, and the downstream CSIPHY nodes agree
 * (mipi-csi-vdd1 at 0.88-1.05 V, mipi-csi-vdd2 at 1.2-1.3 V). Note L18A is
 * shared with the DSI PHY and UFS's vdda-pll; the regulator core refcounts it.
 */
&camss {
	vdd-csiphy-0p9-supply = <&pm6125_l4>;
	vdd-csiphy-1p2-supply = <&pm6125_l18>;

	status = "okay";

	ports {
		port@0 {
			csiphy0_ep: endpoint {
				data-lanes = <0 1 2 3>;
				remote-endpoint = <&s5kjn1_ep>;
			};
		};
	};
};

&cci {
	status = "okay";
};

&cci_i2c0 {
	/*
	 * An S5KJNS, not the S5KJN1 the module part number suggests: the
	 * silicon reports model id 0x38ee and the vendor's own sensormodule
	 * blob declares the same. It shares the S5KJN1's register map -- the
	 * driver's mode tables drive it and it streams -- so it is the same
	 * driver under a second compatible.
	 *
	 * Otherwise the upstream binding's own example is camera@56 with 2.8 V
	 * vdda, 1.05 V vddd, 1.8 V vddio and a 2.8 V autofocus rail -- field
	 * for field this module. The driver rejects any MCLK that is not
	 * exactly 24 MHz and any lane count that is not 4, both of which match.
	 *
	 * power-domains is not decoration: s5kjn1_power_on() runs at probe to
	 * read CHIP_ID, and the MCLK branch it enables is inside the CAMSS top
	 * GDSC -- downstream says as much by listing that GDSC as the sensor's
	 * "cam_clk" supply. Without it the clock does not actually toggle and
	 * the sensor never answers.
	 */
	camera@56 {
		compatible = "samsung,s5kjns";
		reg = <0x56>;

		clocks = <&gcc GCC_CAMSS_MCLK0_CLK>;
		assigned-clocks = <&gcc GCC_CAMSS_MCLK0_CLK>;
		assigned-clock-rates = <24000000>;
		power-domains = <&gcc GCC_CAMSS_TOP_GDSC>;

		pinctrl-0 = <&cam_mclk0_default>;
		pinctrl-names = "default";

		reset-gpios = <&tlmm 18 GPIO_ACTIVE_LOW>;

		vdda-supply = <&camera_ldo_50m_avdd>;
		vddd-supply = <&camera_ldo_50m_dvdd>;
		vddio-supply = <&camera_ldo_iovdd>;
		afvdd-supply = <&camera_ldo_50m_afvdd>;

		port {
			s5kjn1_ep: endpoint {
				data-lanes = <1 2 3 4>;
				link-frequencies = /bits/ 64 <700000000>;
				remote-endpoint = <&csiphy0_ep>;
			};
		};
	};
};
